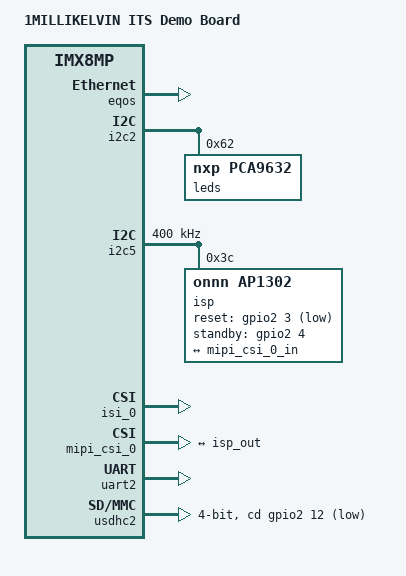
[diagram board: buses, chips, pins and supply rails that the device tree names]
// SPDX-License-Identifier: (GPL-2.0+ OR MIT)
/*
 * Copyright 2024 Ideas on Board Oy
 */

/dts-v1/;

#include <dt-bindings/clock/imx8mp-clock.h>
#include <dt-bindings/gpio/gpio.h>
#include <dt-bindings/leds/common.h>

#include "imx8mp-pinfunc.h"
#include "imx8mp-ucm.dtsi"

/ {
	model = "1MILLIKELVIN ITS Demo Board";
	compatible = "1mk,its-osd", "compulab,ucm-imx8mp", "fsl,imx8mp";

	chosen {
		stdout-path = &uart2;
	};

	clk_isp: clk-isp {
		compatible = "fixed-clock";
		#clock-cells = <0>;
		clock-frequency = <48000000>;
	};
};

&eqos {
	status = "okay";
};

&i2c2 {
	leds@62 {
		compatible = "nxp,pca9632";
		reg = <0x62>;

		#address-cells = <1>;
		#size-cells = <0>;

		led@0 {
			reg = <0>;
			color = <LED_COLOR_ID_RED>;
			function = LED_FUNCTION_STATUS;
		};
		led@1 {
			reg = <1>;
			color = <LED_COLOR_ID_GREEN>;
			function = LED_FUNCTION_STATUS;
		};
		led@2 {
			reg = <2>;
			color = <LED_COLOR_ID_BLUE>;
			function = LED_FUNCTION_STATUS;
		};
		led@3 {
			reg = <3>;
			color = <LED_COLOR_ID_WHITE>;
			function = LED_FUNCTION_STATUS;
		};
	};
};

&i2c5 {
	clock-frequency = <400000>;
	pinctrl-names = "default";
	pinctrl-0 = <&pinctrl_i2c5>;
	status = "okay";

	isp@3c {
		compatible = "onnn,ap1302";
		reg = <0x3c>;
		pinctrl-names = "default";
		pinctrl-0 = <&pinctrl_ap1302>;

		clocks = <&clk_isp>;

		reset-gpio = <&gpio2 3 GPIO_ACTIVE_LOW>;
		standby-gpio = <&gpio2 4 GPIO_ACTIVE_HIGH>;

		port {
			isp_out: endpoint {
				remote-endpoint = <&mipi_csi_0_in>;
				data-lanes = <1 2 3 4>;
				clock-noncontinuous;
				link-frequencies = /bits/ 64 <456000000>;
			};
		};

		sensors {
			#address-cells = <1>;
			#size-cells = <0>;

			onnn,model = "onnn,ar1335";

			sensor@0 {
				reg = <0>;

				onnn,sip-addr = <0x36>;
				onnn,sip-port = <0>;

				data-lanes = <1 2 3 4>;
			};
		};
	};
};

&iomuxc {
	pinctrl_ap1302: ap1302grp {
		fsl,pins = <
			MX8MP_IOMUXC_SD1_DATA1__GPIO2_IO03		0x4
			MX8MP_IOMUXC_SD1_DATA2__GPIO2_IO04		0x4
		>;
	};

	pinctrl_i2c5: i2c5grp {
		fsl,pins = <
			MX8MP_IOMUXC_SAI5_MCLK__I2C5_SDA		0x400001c3
			MX8MP_IOMUXC_SAI5_RXD0__I2C5_SCL		0x400001c3
		>;
	};

	pinctrl_uart2: uart2grp {
		fsl,pins = <
			MX8MP_IOMUXC_UART2_RXD__UART2_DCE_RX		0x140
			MX8MP_IOMUXC_UART2_TXD__UART2_DCE_TX		0x140
		>;
	};

	pinctrl_usdhc2_gpio: usdhc2-gpiogrp {
		fsl,pins = <
			MX8MP_IOMUXC_SD2_CD_B__GPIO2_IO12 		0x1c4
		>;
	};

	pinctrl_usdhc2: usdhc2grp {
		fsl,pins = <
			MX8MP_IOMUXC_SD2_CLK__USDHC2_CLK		0x190
			MX8MP_IOMUXC_SD2_CMD__USDHC2_CMD		0x1d0
			MX8MP_IOMUXC_SD2_DATA0__USDHC2_DATA0		0x1d0
			MX8MP_IOMUXC_SD2_DATA1__USDHC2_DATA1		0x1d0
			MX8MP_IOMUXC_SD2_DATA2__USDHC2_DATA2		0x1d0
			MX8MP_IOMUXC_SD2_DATA3__USDHC2_DATA3		0x1d0
			MX8MP_IOMUXC_GPIO1_IO04__USDHC2_VSELECT		0xc0
		>;
	};

	pinctrl_usdhc2_100mhz: usdhc2-100mhzgrp {
		fsl,pins = <
			MX8MP_IOMUXC_SD2_CLK__USDHC2_CLK		0x194
			MX8MP_IOMUXC_SD2_CMD__USDHC2_CMD		0x1d4
			MX8MP_IOMUXC_SD2_DATA0__USDHC2_DATA0		0x1d4
			MX8MP_IOMUXC_SD2_DATA1__USDHC2_DATA1		0x1d4
			MX8MP_IOMUXC_SD2_DATA2__USDHC2_DATA2		0x1d4
			MX8MP_IOMUXC_SD2_DATA3__USDHC2_DATA3		0x1d4
			MX8MP_IOMUXC_GPIO1_IO04__USDHC2_VSELECT 	0xc0
		>;
	};

	pinctrl_usdhc2_200mhz: usdhc2-200mhzgrp {
		fsl,pins = <
			MX8MP_IOMUXC_SD2_CLK__USDHC2_CLK		0x196
			MX8MP_IOMUXC_SD2_CMD__USDHC2_CMD		0x1d6
			MX8MP_IOMUXC_SD2_DATA0__USDHC2_DATA0		0x1d6
			MX8MP_IOMUXC_SD2_DATA1__USDHC2_DATA1		0x1d6
			MX8MP_IOMUXC_SD2_DATA2__USDHC2_DATA2		0x1d6
			MX8MP_IOMUXC_SD2_DATA3__USDHC2_DATA3		0x1d6
			MX8MP_IOMUXC_GPIO1_IO04__USDHC2_VSELECT 	0xc0
		>;
	};
};

&isi_0 {
	status = "okay";
};

&mipi_csi_0 {
	status = "okay";

	ports {
		port@0 {
			mipi_csi_0_in: endpoint {
				remote-endpoint = <&isp_out>;
				clock-lanes = <0>;
				data-lanes = <1 2 3 4>;
			};
		};
	};
};

/* Serial debug console */
&uart2 {
	pinctrl-names = "default";
	pinctrl-0 = <&pinctrl_uart2>;
	status = "okay";
};

/* Micro-SD socket */
&usdhc2 {
	assigned-clocks = <&clk IMX8MP_CLK_USDHC2>;
	assigned-clock-rates = <400000000>;
	pinctrl-names = "default", "state_100mhz", "state_200mhz";
	pinctrl-0 = <&pinctrl_usdhc2>, <&pinctrl_usdhc2_gpio>;
	pinctrl-1 = <&pinctrl_usdhc2_100mhz>, <&pinctrl_usdhc2_gpio>;
	pinctrl-2 = <&pinctrl_usdhc2_200mhz>, <&pinctrl_usdhc2_gpio>;
	cd-gpios = <&gpio2 12 GPIO_ACTIVE_LOW>;
	bus-width = <4>;
	status = "okay";
};
